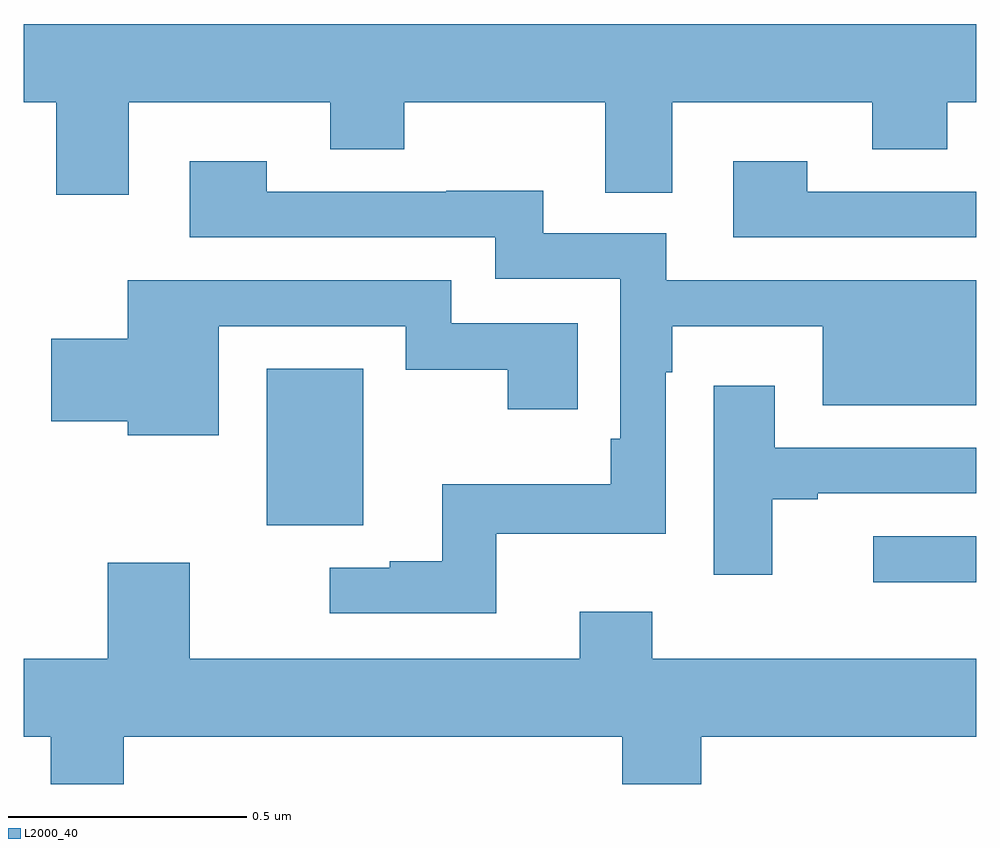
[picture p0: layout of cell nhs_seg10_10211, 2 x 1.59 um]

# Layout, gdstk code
import gdstk
lib = gdstk.Library(unit=1e-6, precision=1e-09)
def R(c, l, rs):  # rectangles x0, y0, x1, y1
    for r in rs: c.add(gdstk.rectangle(r[:2], r[2:], *l))
def P(c, l, *ps):  # polygons
    for p in ps: c.add(gdstk.Polygon(p, *l))
L2000_40 = (2000, 40)

nhs_seg10_10211 = lib.new_cell('nhs_seg10_10211')
R(nhs_seg10_10211, L2000_40, [(240.783,1317.956,241,1318.053), (239.51,1318.076,239.713,1318.405)])
P(nhs_seg10_10211, L2000_40, [(239.221,1318.964),(239.644,1318.964),(239.644,1318.865),(239.799,1318.865),(239.799,1318.964),(240.221,1318.964),(240.221,1318.774),(240.361,1318.774),(240.361,1318.964),(240.781,1318.964),(240.781,1318.865),(240.939,1318.865),(240.939,1318.964),(241,1318.964),(241,1319.128),(239,1319.128),(239,1318.964),(239.069,1318.964),(239.069,1318.77),(239.221,1318.77)],
  [(239.992,1318.058),(240.348,1318.058),(240.348,1318.397),(240.361,1318.397),(240.361,1318.494),(240.677,1318.494),(240.677,1318.328),(241,1318.328),(241,1318.59),(240.349,1318.59),(240.349,1318.689),(240.091,1318.689),(240.091,1318.778),(239.887,1318.778),(239.887,1318.776),(239.51,1318.776),(239.51,1318.84),(239.349,1318.84),(239.349,1318.68),(239.99,1318.68),(239.99,1318.593),(240.252,1318.593),(240.252,1318.258),(240.232,1318.258),(240.232,1318.162),(239.879,1318.162),(239.879,1318),(239.769,1318),(239.769,1317.987),(239.643,1317.987),(239.643,1317.891),(239.992,1317.891)],
  [(241,1318.776),(240.645,1318.776),(240.645,1318.84),(240.489,1318.84),(240.489,1318.68),(241,1318.68)],
  [(239.41,1318.494),(239.802,1318.494),(239.802,1318.402),(240.016,1318.402),(240.016,1318.32),(240.163,1318.32),(240.163,1318.5),(239.898,1318.5),(239.898,1318.59),(239.219,1318.59),(239.219,1318.467),(239.058,1318.467),(239.058,1318.294),(239.219,1318.294),(239.219,1318.265),(239.41,1318.265)],
  [(240.571,1318.131),(240.667,1318.131),(240.667,1318.143),(241,1318.143),(241,1318.239),(240.577,1318.239),(240.577,1318.369),(240.449,1318.369),(240.449,1317.972),(240.571,1317.972)],
  [(239.21,1317.632),(240.257,1317.632),(240.257,1317.533),(240.422,1317.533),(240.422,1317.632),(241,1317.632),(241,1317.796),(240.32,1317.796),(240.32,1317.895),(240.167,1317.895),(240.167,1317.796),(239.349,1317.796),(239.349,1317.997),(239.177,1317.997),(239.177,1317.796),(239,1317.796),(239,1317.632),(239.057,1317.632),(239.057,1317.533),(239.21,1317.533)])

lib.write_gds('nhs_seg10_10211.gds')
